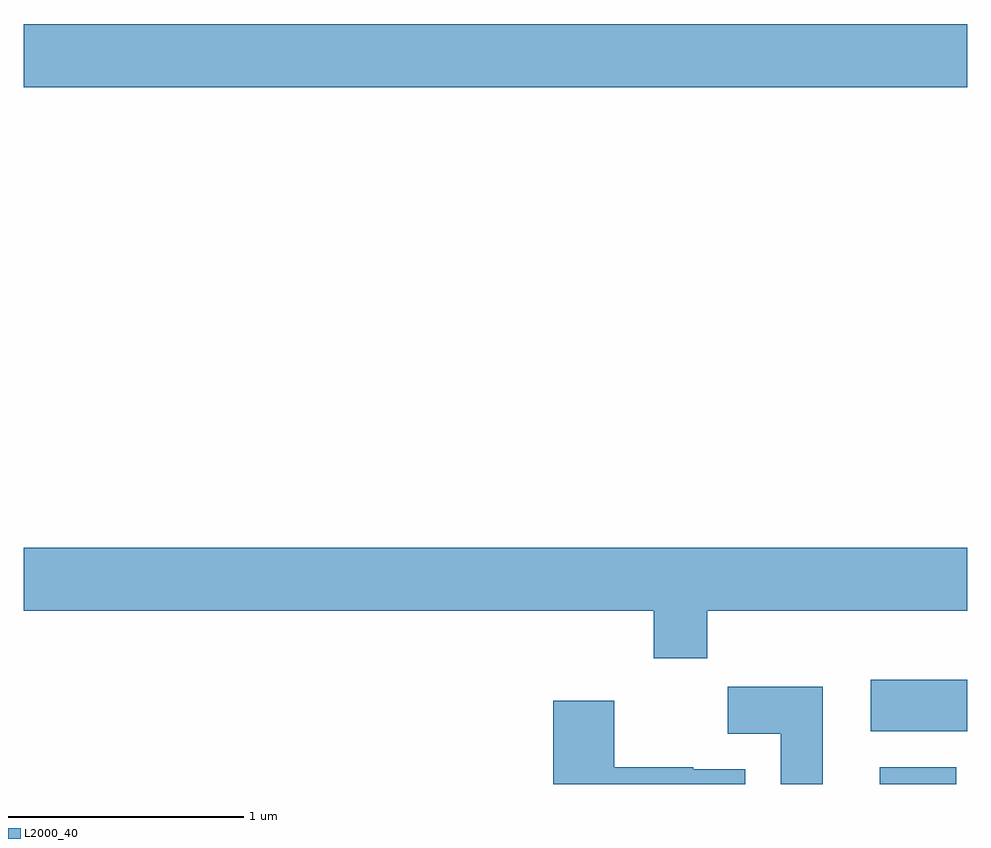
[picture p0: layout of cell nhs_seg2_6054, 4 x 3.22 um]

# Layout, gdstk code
import gdstk
lib = gdstk.Library(unit=1e-6, precision=1e-09)
def R(c, l, rs):  # rectangles x0, y0, x1, y1
    for r in rs: c.add(gdstk.rectangle(r[:2], r[2:], *l))
def P(c, l, *ps):  # polygons
    for p in ps: c.add(gdstk.Polygon(p, *l))
L2000_40 = (2000, 40)

nhs_seg2_6054 = lib.new_cell('nhs_seg2_6054')
R(nhs_seg2_6054, L2000_40, [(367.241,1049.802,367.564,1049.874), (367.201,1050.026,367.611,1050.244), (363.611,1052.756,367.611,1053.024)])
P(nhs_seg2_6054, L2000_40, [(366.509,1050.536),(367.611,1050.536),(367.611,1050.804),(363.611,1050.804),(363.611,1050.536),(366.281,1050.536),(366.281,1050.336),(366.509,1050.336)],
  [(366.999,1050.214),(366.596,1050.214),(366.596,1050.016),(366.821,1050.016),(366.821,1049.802),(366.999,1049.802)],
  [(366.669,1049.864),(366.45,1049.864),(366.45,1049.874),(366.114,1049.874),(366.114,1050.154),(365.856,1050.154),(365.856,1049.802),(366.669,1049.802)])

lib.write_gds('nhs_seg2_6054.gds')
